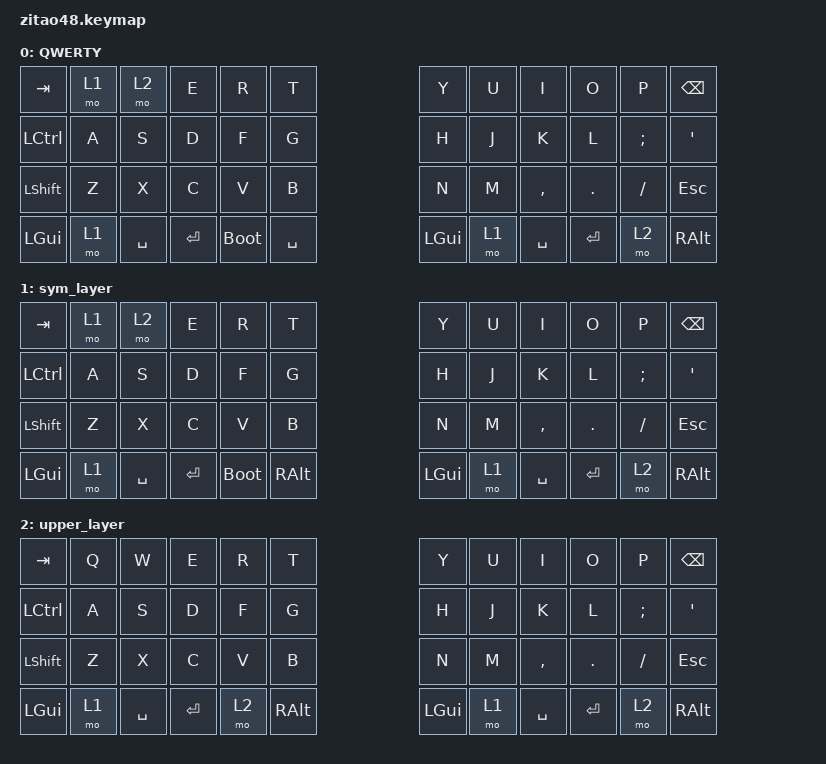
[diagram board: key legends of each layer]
/*
 * Copyright (c) 2023 ZitaoTech
 *
 * SPDX-License-Identifier: MIT
 */

#include <behaviors.dtsi>
#include <dt-bindings/zmk/keys.h>
#include <dt-bindings/zmk/bt.h>
#include <dt-bindings/zmk/outputs.h>
#include <dt-bindings/zmk/mouse.h>
#include <dt-bindings/zmk/backlight.h>
#include <dt-bindings/zmk/ext_power.h>


#define SYM 1
#define UPPER 2


/ {
    behaviors {
        td0: tap_dance_0 {
            compatible = "zmk,behavior-tap-dance";
            #binding-cells = <0>;
            tapping-term-ms = <400>;
            bindings = <&mkp LCLK>, <&bt BT_CLR>;
        };
    };
    behaviors {
        hm: homerow_mods {
            compatible = "zmk,behavior-hold-tap";
            #binding-cells = <2>;
            tapping-term-ms = <500>;
            bindings = <&out &kp>;
        };
    };

    keymap {
        compatible = "zmk,keymap";

         default_layer {
            display-name = "QWERTY";
// --------------------------------------------------------------------------------
// |  TAB |  Q  |  W  |  E  |  R  |  T  |   |  Y  |  U   |  I  |  O  |  P  | BSPC |
// | CTRL |  A  |  S  |  D  |  F  |  G  |   |  H  |  J   |  K  |  L  |  ;  |  '   |
// | SHFT |  Z  |  X  |  C  |  V  |  B  |   |  N  |  M   |  ,  |  .  |  /  | ESC  |
//                    | GUI | LWR | SPC |   | ENT | RSE  | ALT |
            bindings = <
&kp TAB   &mo 1    &mo 2      &kp E   &kp R       &kp T                            &kp Y &kp U  &kp I     &kp O   &kp P    &kp BSPC
&kp LCTRL &kp A    &kp S      &kp D   &kp F       &kp G                            &kp H &kp J  &kp K     &kp L   &kp SEMI &kp SQT
&kp LSHFT &kp Z    &kp X      &kp C   &kp V       &kp B                            &kp N &kp M  &kp COMMA &kp DOT &kp FSLH &kp ESC
&kp LGUI  &mo 1    &kp SPACE  &kp RET &bootloader &kp SPACE           &kp LGUI  &mo 1 &kp SPACE  &kp RET &mo 2 &kp RALT
            >;
        };


        sym_layer {

            bindings = <
&kp TAB   &mo 1 &mo 2 &kp E &kp R &kp T             &kp Y &kp U  &kp I     &kp O   &kp P    &kp BSPC
&kp LCTRL &kp A &kp S &kp D &kp F &kp G             &kp H &kp J  &kp K     &kp L   &kp SEMI &kp SQT
&kp LSHFT &kp Z &kp X &kp C &kp V &kp B             &kp N &kp M  &kp COMMA &kp DOT &kp FSLH &kp ESC
&kp LGUI  &mo 1 &kp SPACE  &kp RET &bootloader &kp RALT   &kp LGUI  &mo 1 &kp SPACE  &kp RET &mo 2 &kp RALT
            >;
        };

        upper_layer {

            bindings = <
&kp TAB   &kp Q &kp W &kp E &kp R &kp T             &kp Y &kp U  &kp I     &kp O   &kp P    &kp BSPC
&kp LCTRL &kp A &kp S &kp D &kp F &kp G             &kp H &kp J  &kp K     &kp L   &kp SEMI &kp SQT
&kp LSHFT &kp Z &kp X &kp C &kp V &kp B             &kp N &kp M  &kp COMMA &kp DOT &kp FSLH &kp ESC
&kp LGUI  &mo 1 &kp SPACE  &kp RET &mo 2 &kp RALT   &kp LGUI  &mo 1 &kp SPACE  &kp RET &mo 2 &kp RALT
            >;
        };
    };
};
